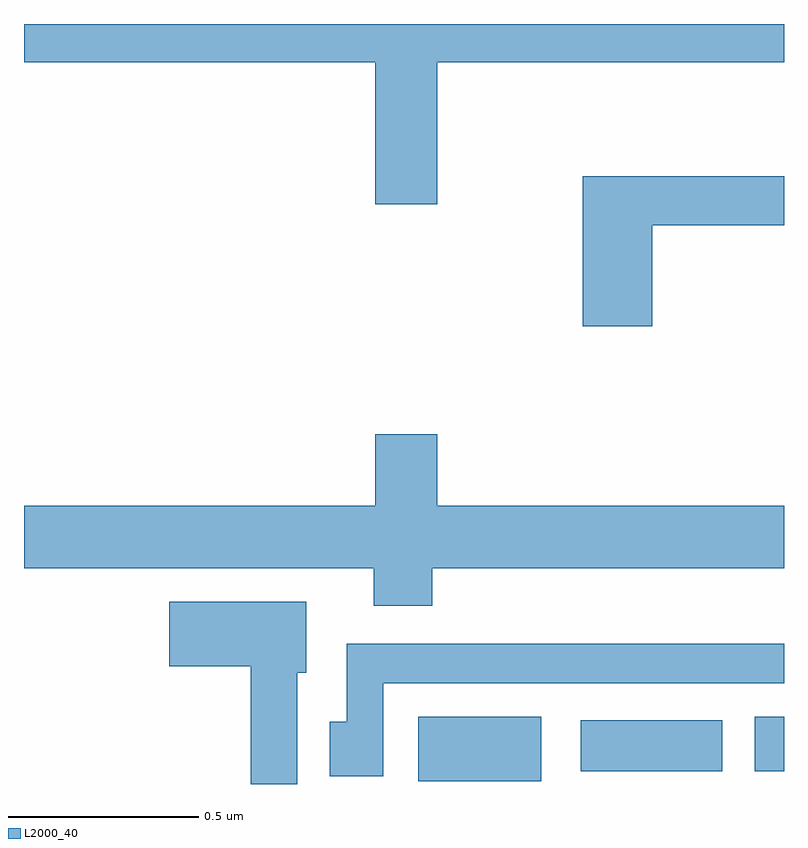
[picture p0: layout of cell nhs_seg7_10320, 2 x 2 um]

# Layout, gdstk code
import gdstk
lib = gdstk.Library(unit=1e-6, precision=1e-09)
def R(c, l, rs):  # rectangles x0, y0, x1, y1
    for r in rs: c.add(gdstk.rectangle(r[:2], r[2:], *l))
def P(c, l, *ps):  # polygons
    for p in ps: c.add(gdstk.Polygon(p, *l))
L2000_40 = (2000, 40)

nhs_seg7_10320 = lib.new_cell('nhs_seg7_10320')
R(nhs_seg7_10320, L2000_40, [(249.038,1048.007,249.361,1048.177), (249.465,1048.034,249.838,1048.168), (249.923,1048.034,250,1048.177)])
P(nhs_seg7_10320, L2000_40, [(249.088,1049.9),(250,1049.9),(250,1050),(248,1050),(248,1049.9),(248.924,1049.9),(248.924,1049.526),(249.088,1049.526)],
  [(249.653,1049.47),(250,1049.47),(250,1049.599),(249.47,1049.599),(249.47,1049.205),(249.653,1049.205)],
  [(249.074,1048.568),(250,1048.568),(250,1048.732),(249.088,1048.732),(249.088,1048.921),(248.924,1048.921),(248.924,1048.732),(248,1048.732),(248,1048.568),(248.921,1048.568),(248.921,1048.469),(249.074,1048.469)],
  [(248.719,1048.293),(248.743,1048.293),(248.743,1048.48),(248.382,1048.48),(248.382,1048.31),(248.597,1048.31),(248.597,1048),(248.719,1048)],
  [(248.946,1048.265),(250,1048.265),(250,1048.369),(248.849,1048.369),(248.849,1048.164),(248.804,1048.164),(248.804,1048.02),(248.946,1048.02)])

lib.write_gds('nhs_seg7_10320.gds')
